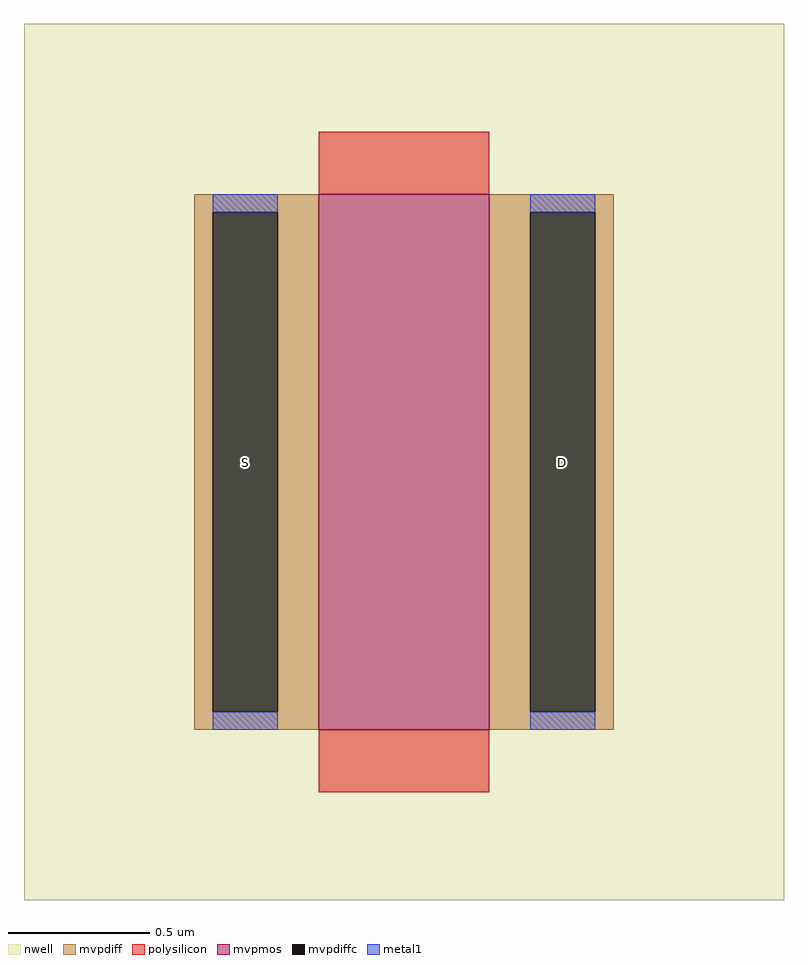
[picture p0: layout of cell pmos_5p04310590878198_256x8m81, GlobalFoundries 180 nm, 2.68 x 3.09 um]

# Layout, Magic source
magic
tech gf180mcuC
magscale 1 10
<< nwell >>
rect -208 -120 328 498
<< mvpmos >>
rect 0 0 120 378
<< mvpdiff >>
rect -88 365 0 378
rect -88 13 -75 365
rect -29 13 0 365
rect -88 0 0 13
rect 120 365 208 378
rect 120 13 149 365
rect 195 13 208 365
rect 120 0 208 13
<< mvpdiffc >>
rect -75 13 -29 365
rect 149 13 195 365
<< polysilicon >>
rect 0 378 120 422
rect 0 -44 120 0
<< metal1 >>
rect -75 365 -29 378
rect -75 0 -29 13
rect 149 365 195 378
rect 149 0 195 13
<< labels >>
flabel metal1 s -52 189 -52 189 0 FreeSans 400 0 0 0 S
flabel metal1 s 172 189 172 189 0 FreeSans 400 0 0 0 D
<< properties >>
string GDS_END 1152358
string GDS_FILE $PDKPATH/libs.ref/gf180mcu_fd_ip_sram/gds/gf180mcu_fd_ip_sram__sram256x8m8wm1.gds
string GDS_START 1150886
<< end >>
